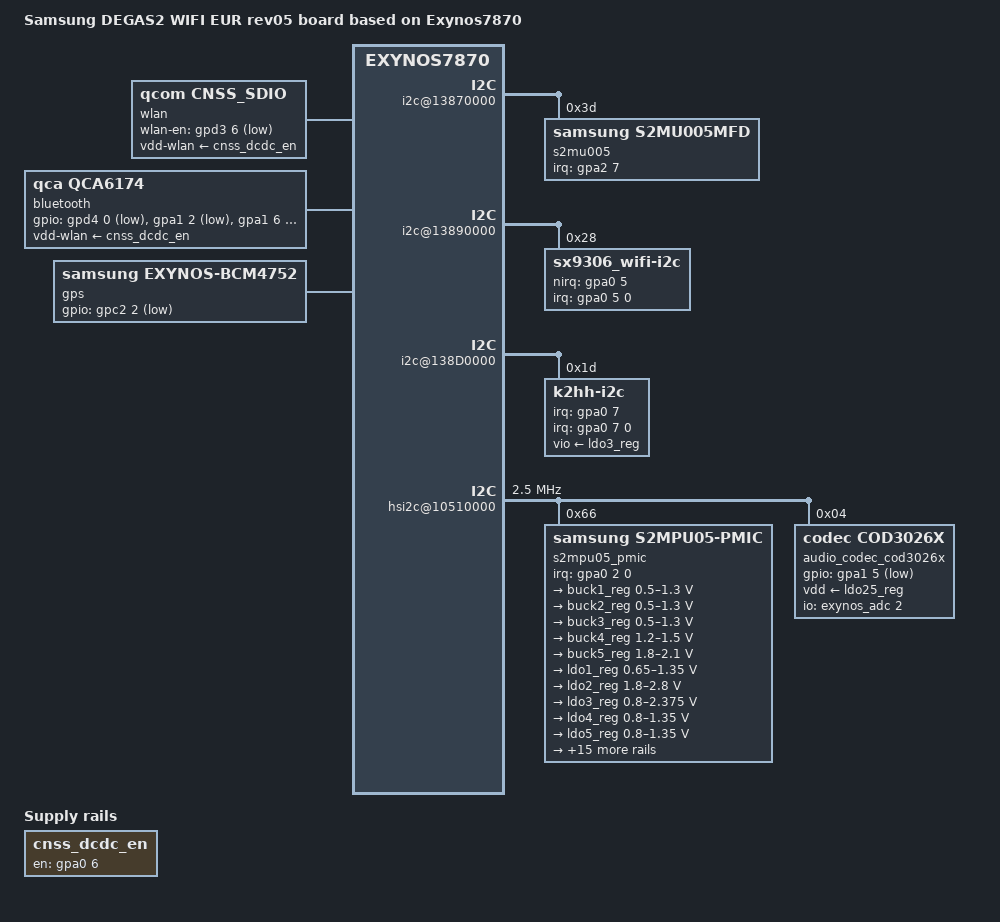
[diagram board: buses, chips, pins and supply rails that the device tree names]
/*
 * SAMSUNG UNIVERSAL8890 board device tree source
 *
 * Copyright (c) 2013 Samsung Electronics Co., Ltd.
 *		http://www.samsung.com
 *
 * This program is free software; you can redistribute it and/or modify
 * it under the terms of the GNU General Public License version 2 as
 * published by the Free Software Foundation.
*/

/dts-v1/;
#include "exynos7870-degas2wifi_common.dtsi"
#include "modem-ss315ap-pdata.dtsi"
#include "exynos7870-degas2wifi_eur_bmw_gpio_02.dtsi"
#include "exynos7870-degas2wifi_eur_bmw_battery_01.dtsi"

/ {
	model = "Samsung DEGAS2 WIFI EUR rev05 board based on Exynos7870";
        model_info-chip = <7870>;
        model_info-platform = "android";
        model_info-subtype = "samsung";
        model_info-hw_rev = <5>;
        model_info-hw_rev_end = <255>;
	compatible = "samsung, DEGAS2 WIFI EUR BMW 05", "samsung,exynos7870";

	cnss_dcdc_en: cnss_dcdc_en {
		compatible = "regulator-fixed";
		regulator-name = "cnss_dcdc_en";
		startup-delay-us = <4000>;
		enable-active-high;
		gpio = <&gpa0 6 0>;
	};

	i2c@13870000 {
		status = "okay";

		s2mu005@3d {
			compatible = "samsung,s2mu005mfd";
			reg = <0x3d>;
			pinctrl-names = "default";
			pinctrl-0 = <&if_pmic_irq>;
			s2mu005,irq-gpio = <&gpa2 7 0>;
			s2mu005,wakeup;

			leds {
				flash-gpio = <&gpd3 2 0>;
				torch-gpio = <&gpd3 3 0>;

				flash_current = <1200>;
				preflash_current = <150>;
				movie_current = <175>; /*unused*/
				torch_current = <75>;
				factory_current = <300>;
				front_torch_current = <50>;

				status = "okay";
				s2mu005-leds1 {
					ledname = "leds-sec1";
					id = <0>;
					timeout = <0x0>;
				};

				s2mu005-leds2 {
					ledname = "leds-sec2";
					id = <1>;
					timeout = <0x0>;
				};
			};
		};

		muic {
			status = "okay";
		};
	};

	i2c@13890000{
		samsung,i2c-sda-delay = <100>;
		samsung,i2c-max-bus-freq = <400000>;
		status = "okay";

		sx9306_wifi-i2c@28 {
			compatible = "sx9306_wifi-i2c";
			reg = <0x28>;
			pinctrl-names = "default";
			pinctrl-0 = <&grip_wifi_int>;
			interrupt-parent = <&gpa0>;
			interrupts = <5 0 0>;
			sx9306_wifi-i2c,nirq-gpio = <&gpa0 5 0>;
			sx9306_wifi-i2c,ctrl0 = <0x34>;
			sx9306_wifi-i2c,ctrl2 = <0x57>;
			sx9306_wifi-i2c,normal-thd = <5>; /* normal touch threshold */
			sx9306_wifi-i2c,ch-main = <2>; /* channel number */
			sx9306_wifi-i2c,ch-sub1 = <0xff>;  /*oxff: Not be used sub channel */
		};
	};

	i2c@138D0000 {
		samsung,i2c-sda-delay = <100>;
		samsung,i2c-max-bus-freq = <400000>;
		status = "okay";
		#address-cells = <1>;
		#size-cells = <0>;
		k2hh-i2c@1D {
			compatible = "k2hh-i2c";
			reg = <0x1D>;
			pinctrl-names = "default";
			pinctrl-0 = <&acc_int>;
			interrupt-parent = <&gpa0>;
			interrupts = <7 0 0>;
			k2hh,irq_gpio = <&gpa0 7 0>;
			k2hh,vio-supply = <&ldo3_reg>;
			k2hh,axis_map_x = <0>;
			k2hh,axis_map_y = <1>;
			k2hh,axis_map_z = <2>;
			k2hh,negate_x = <1>;
			k2hh,negate_y = <1>;
			k2hh,negate_z = <1>;
			k2hh,poll_interval = <100>;
			k2hh,min_interval = <2>;
		};
	};

	but_zones: but_zones {
		#list-but-cells = <3>;
	};

	hsi2c@10510000 {
		status = "okay";
		samsung,hs-mode;
		clock-frequency = <2500000>;
		samsung,hsi2c-batcher;
		#address-cells = <1>;
		#size-cells = <0>;

		s2mpu05_pmic@66 {
			compatible = "samsung,s2mpu05-pmic";
			reg = <0x66>;
			ten-bit-address;
			interrupts = <2 0 0>;
			interrupt-parent = <&gpa0>;
			pinctrl-names = "default";
			pinctrl-0 = <&pmic_irq &pm_wrsti>;
			g3d_en = <1>; /* 1 : enable , 0 : disable */
			buck2en_pin = "etc1-3";
			buck2en_addr = "139B0080.pinctrl";
			/* RTC: wtsr/smpl */
			wtsr_en = <1>; /* enable */
			smpl_en = <1>; /* enable */
			wtsr_timer_val = <3>;   /* 1000ms */
			smpl_timer_val = <0>;   /* 100ms */
			check_jigon = <1>; /* default is 0 but check jigon and disable smpl because of REV0.2 HW defect */
			/* RTC: If it's first boot, reset rtc to 1/1/2016 12:00:00(Fri) */
			init_time,sec = <0>;
			init_time,min = <0>;
			init_time,hour = <12>;
			init_time,mday = <1>;
			init_time,mon = <0>;
			init_time,year = <116>;
			init_time,wday = <5>;

			regulators {
				buck1_reg: BUCK1 {
					regulator-name = "BUCK1";
					regulator-min-microvolt = <500000>;
					regulator-max-microvolt = <1300000>;
					regulator-always-on;
					regulator-boot-on;
					regulator-ramp-delay = <12000>;
					regulator-initial-mode = <1>;
					regulator-expected-consumer = <2>;
				};

				buck2_reg: BUCK2 {
					regulator-name = "BUCK2";
					regulator-min-microvolt = <500000>;
					regulator-max-microvolt = <1300000>;
					regulator-always-on;
					regulator-boot-on;
					regulator-ramp-delay = <12000>;
					regulator-initial-mode = <2>;		/* MIF mode */
					regulator-expected-consumer = <4>;
				};

				buck3_reg: BUCK3 {
					regulator-name = "BUCK3";
					regulator-min-microvolt = <500000>;
					regulator-max-microvolt = <1300000>;
					regulator-always-on;
					regulator-boot-on;
					regulator-ramp-delay = <12000>;
					regulator-initial-mode = <2>;
				};

				buck4_reg: BUCK4 {
					regulator-name = "BUCK4";
					regulator-min-microvolt = <1200000>;
					regulator-max-microvolt = <1500000>;
					regulator-always-on;
					regulator-boot-on;
					regulator-ramp-delay = <12000>;
					regulator-initial-mode = <2>;
				};

				buck5_reg: BUCK5 {
					regulator-name = "BUCK5";
					regulator-min-microvolt = <1800000>;
					regulator-max-microvolt = <2100000>;
					regulator-always-on;
					regulator-boot-on;
					regulator-ramp-delay = <12000>;
					regulator-initial-mode = <2>;
				};

				ldo1_reg: LDO1 {
					regulator-name = "vdd_ldo1";
					regulator-min-microvolt = <650000>;
					regulator-max-microvolt = <1350000>;
					regulator-always-on;
					regulator-boot-on;
					regulator-ramp-delay = <12000>;
					regulator-initial-mode = <3>;
				};

				ldo2_reg: LDO2 {
					regulator-name = "vqmmc";
					regulator-min-microvolt = <1800000>;
					regulator-max-microvolt = <2800000>;
					regulator-ramp-delay = <12000>;
					regulator-initial-mode = <0>;
				};

				ldo3_reg: LDO3 {
					regulator-name = "vdd_ldo3";
					regulator-min-microvolt = <800000>;
					regulator-max-microvolt = <2375000>;
					regulator-boot-on;
					regulator-always-on;
					regulator-ramp-delay = <12000>;
					regulator-initial-mode = <3>;
				};

				ldo4_reg: LDO4 {
					regulator-name = "vdd_ldo4";
					regulator-min-microvolt = <800000>;
					regulator-max-microvolt = <1350000>;
					regulator-boot-on;
					regulator-always-on;
					regulator-ramp-delay = <12000>;
					regulator-initial-mode = <1>;
				};

				ldo5_reg: LDO5 {
					regulator-name = "vdd_ldo5";
					regulator-min-microvolt = <800000>;
					regulator-max-microvolt = <1350000>;
					regulator-boot-on;
					regulator-always-on;
					regulator-ramp-delay = <12000>;
					regulator-initial-mode = <3>;
				};

				ldo6_reg: LDO6 {
					regulator-name = "vdd_ldo6";
					regulator-min-microvolt = <800000>;
					regulator-max-microvolt = <1350000>;
					regulator-boot-on;
					regulator-always-on;
					regulator-ramp-delay = <12000>;
					regulator-initial-mode = <1>;
				};

				ldo7_reg: LDO7 {
					regulator-name = "vdd_ldo7";
					regulator-min-microvolt = <800000>;
					regulator-max-microvolt = <2375000>;
					regulator-boot-on;
					regulator-always-on;
					regulator-ramp-delay = <12000>;
					regulator-initial-mode = <1>;
				};

				ldo8_reg: LDO8 {
					regulator-name = "vdd_ldo8";
					regulator-min-microvolt = <1800000>;
					regulator-max-microvolt = <3375000>;
					regulator-boot-on;
					regulator-always-on;
					regulator-ramp-delay = <12000>;
					regulator-initial-mode = <1>;
				};

				ldo9_reg: LDO9 {
					regulator-name = "vdd_ldo9";
					regulator-min-microvolt = <650000>;
					regulator-max-microvolt = <1350000>;
					regulator-always-on;
					regulator-ramp-delay = <12000>;
					regulator-initial-mode = <1>;
				};

				ldo10_reg: LDO10 {
					regulator-name = "vdd_ldo10";
					regulator-min-microvolt = <650000>;
					regulator-max-microvolt = <1350000>;
					regulator-always-on;
					regulator-ramp-delay = <12000>;
					regulator-initial-mode = <1>;
				};

				ldo25_reg: LDO25 {
					regulator-name = "VDDIO_1.8V_CAM";
					regulator-min-microvolt = <1800000>;
					regulator-max-microvolt = <1800000>;
					regulator-initial-mode = <0>;
				};

				ldo26_reg: LDO26 {
					regulator-name = "vemmc";
					regulator-min-microvolt = <1800000>;
					regulator-max-microvolt = <3375000>;
					regulator-boot-on;
					regulator-ramp-delay = <12000>;
					regulator-initial-mode = <3>;
				};

				ldo27_reg: LDO27 {
					regulator-name = "vqemmc";
					regulator-min-microvolt = <800000>;
					regulator-max-microvolt = <2375000>;
					regulator-boot-on;
					regulator-ramp-delay = <12000>;
					regulator-initial-mode = <3>;
				};

				ldo29_reg: LDO29 {
					regulator-name = "GRIP_2P8";
					regulator-min-microvolt = <2800000>;
					regulator-max-microvolt = <2800000>;
					regulator-always-on;
					regulator-initial-mode = <3>;
				};

				ldo30_reg: LDO30 {
					regulator-name = "LCD_1P8";
					regulator-min-microvolt = <1800000>;
					regulator-max-microvolt = <1800000>;
					regulator-initial-mode = <3>;
				};

				ldo31_reg: LDO31 {
					regulator-name = "vdd_ldo31";
					regulator-min-microvolt = <2800000>;
					regulator-max-microvolt = <2800000>;
					regulator-always-on;
					regulator-ramp-delay = <12000>;
				        regulator-initial-mode = <3>;
				};

				ldo32_reg: LDO32 {
					regulator-name = "TSP_VDD_3P3";
					regulator-min-microvolt = <3300000>;
					regulator-max-microvolt = <3300000>;
					regulator-initial-mode = <3>;
				};

				ldo33_reg: LDO33 {
					regulator-name = "VT_CAM_2P8";
					regulator-min-microvolt = <2800000>;
					regulator-max-microvolt = <2800000>;
					regulator-initial-mode = <0>;
				};

				ldo34_reg: LDO34 {
					regulator-name = "ldo_34";
					regulator-min-microvolt = <1800000>;
					regulator-max-microvolt = <1800000>;
				};

				ldo35_reg: LDO35 {
					regulator-name = "VDD_CAM_SENSOR_A2P8";
					regulator-min-microvolt = <2800000>;
					regulator-max-microvolt = <2800000>;
					regulator-initial-mode = <0>;
				};
			};
		};

		audio_codec_cod3026x: cod3026x@04 {
			compatible = "codec,cod3026x";
			reg = <0x04>;
			ten-bit-address;
			vdd-supply = <&ldo25_reg>;
			pinctrl-names = "default";
			pinctrl-0 = <&cod3026_irq>;
			interrupt-parent = <&gpa1>;
			gpios = <&gpa1 5 0xf>;
			mic-bias1-voltage = <1>;
			mic-bias2-voltage = <1>;
			mic-bias-ldo-voltage = <3>;
			use-det-adc-mode;
			io-channels = <&exynos_adc 2>;
			io-channel-names = "adc-jack";
			#io-channel-cells = <1>;
			io-channel-ranges;
			but-zones-list = <&but_zones 226 0 215>, /* send/end */
					<&but_zones 582 216 295>, /* google */
					<&but_zones 115 296 495>, /* vol up */
					<&but_zones 114 496 1000>; /* vol down */
			mic-adc-range = <1360>;
		};
	};

	sound {
		compatible = "samsung,universal7870-cod3026x";
		mixer-paths = "mixer_paths_rev05.xml";
		status = "okay";
	};

	wlan {
		compatible = "qcom,cnss_sdio";
		wlan-en-gpio = <&gpd3 6 0x1>; /* WLAN_EN */
		wlan-host-wake = <&gpa2 2 0>; /* WLAN_HOST_WAKE */
		vdd-wlan-supply = <&cnss_dcdc_en>; /* DCDC_EN regulator */
		pinctrl-names = "default";
		pinctrl-0 = <&cnss_wlanen &cfg_wlanhostwake>;
		status = "okay";
	};

	pinctrl@13750000 {
		sd1_bus1: sd1-bus-width1 {
			samsung,pin-pud = <3>;
		};

		sd1_bus4: sd1-bus-width4 {
			samsung,pin-pud = <3>;
		};
	};
	
	bluetooth {
		compatible = "qca,qca6174";
		gpios = <&gpd4 0 0x1	/*BT_EN*/
				&gpa1 2 0x1	/*BT_WAKE*/
				&gpa1 6 0xF	/*BT_HOST_WAKE*/ >;
		vdd-wlan-supply = <&cnss_dcdc_en>; /* DCDC_EN regulator */
		pinctrl-names = "default";
		pinctrl-0=<&bt_hostwake &bt_btwake &bt_en>;
		status = "okay";
	};

	pinctrl@139F0000 {
		fmradio_irq: fmradio-irq {
			samsung,pins = "gpa2-4";
			samsung,pin-function = <0xf>;
			samsung,pin-pud = <0>;
			samsung,pin-drv = <0>;
		};
	};

	pinctrl@139B0000 {
			uart1_rx: uart1-rts {
			samsung,pins = "gpd2-3";
			samsung,pin-function = <2>;
			samsung,pin-pud = <3>;
			samsung,pin-con-pdn = <1>;
			samsung,pin-pud-pdn = <3>;
		};

			uart1_tx: uart1-cts {
			samsung,pins = "gpd2-2";
			samsung,pin-function = <2>;
			samsung,pin-pud = <3>;
			samsung,pin-con-pdn = <2>;
			samsung,pin-pud-pdn = <3>;
		};

		uart1_cts: uart1-tx {
			samsung,pins = "gpd2-1";
			samsung,pin-function = <2>;
			samsung,pin-pud = <3>;
			samsung,pin-con-pdn = <1>;
			samsung,pin-pud-pdn = <3>;
		};

		uart1_rts: uart1-rx {
			samsung,pins = "gpd2-0";
			samsung,pin-function = <2>;
			samsung,pin-pud = <3>;
			samsung,pin-con-pdn = <2>;
			samsung,pin-pud-pdn = <3>;
		};

	};

	serial@13800000 {
	       pinctrl-names = "default";
		pinctrl-0 = <&uart1_rts &uart1_cts &uart1_tx &uart1_rx>;
	};

	gps {
		compatible = "samsung,exynos-bcm4752";
		gpios = <&gpc2 2 0x1 >; /* GPS_EN */
		status = "okay";
	};

};
